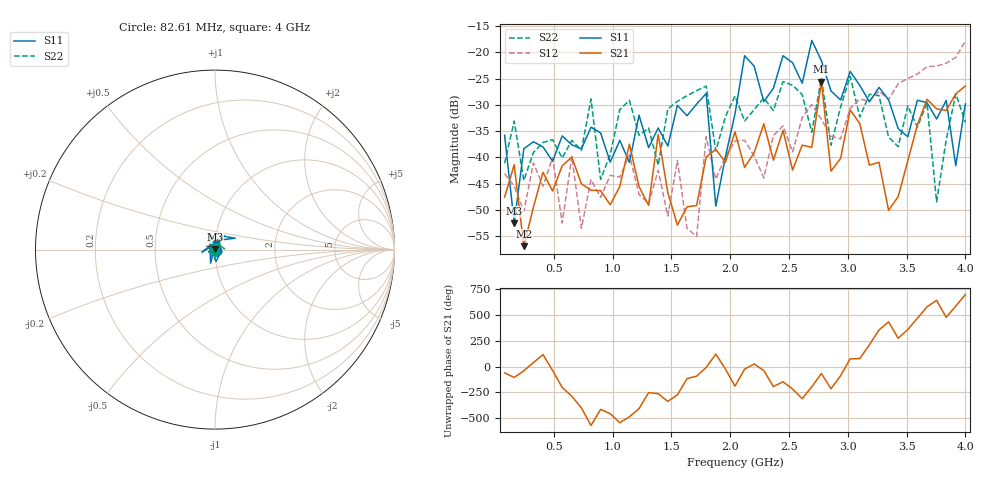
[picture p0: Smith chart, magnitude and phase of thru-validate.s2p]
!Created with skrf (http://scikit-rf.org).
# GHz S DB R 50.0
!freq dBS11 angS11 dBS21 angS21 dBS12 angS12 dBS22 angS22
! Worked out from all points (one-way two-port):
!   49 points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, 82.61 MHz to 4 GHz, reference 50 ohm
!   highest |S21| = -25.59 dB at 2.776 GHz (marker M1); lowest = -56.9 dB at 245.8 MHz (marker M2)
!   lowest |S11| = -52.5 dB at 164.2 MHz (marker M3), VSWR 1.00, Z = 50.1 + j0.228 ohm
!   |S11| at or under -10 dB: start of sweep to end of sweep
!   |S22| runs from -48.5 to -24.6 dB; largest |S21 - S12| = 0.11
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0.08261224  -35.78 -34.9  -47.57 -60.9  -43.11 -44.5  -41.11 -94.3
0.1642245  -52.55 74.6  -41.39 -106.1  -45.45 -118.2  -33.10 -20.5
0.2458367  -38.36 -28.6  -56.90 -40.7  -50.25 -175.7  -44.39 35.8
0.653898  -37.61 -84.9  -39.96 71.8  -39.83 128.8  -36.77 -16.0
0.7355102  -38.39 49.3  -45.02 -41.9  -53.49 -40.5  -38.63 -77.0
1.143571  -40.96 6.5  -37.48 -127.1  -39.50 -35.9  -29.13 54.9
1.306796  -38.14 142.1  -49.13 107.0  -48.79 113.3  -34.42 -33.8
1.388408  -34.40 -16.0  -35.63 96.5  -42.46 -83.9  -41.50 168.8
1.551633  -30.09 -29.9  -52.89 85.0  -40.57 5.5  -29.34 -115.0
1.714857  -29.85 -153.3  -49.16 -93.2  -55.04 116.9  -27.29 72.7
1.796469  -27.84 -19.5  -39.94 -8.3  -36.06 145.2  -26.44 132.5
1.878082  -49.29 -179.1  -38.46 120.6  -44.16 -6.9  -38.80 -53.3
2.041306  -31.71 -165.7  -35.14 169.2  -36.90 -26.2  -28.31 -159.0
2.53098  -21.98 -107.8  -42.40 141.7  -38.97 79.3  -26.28 100.6
2.775816  -21.58 67.4  -25.59 -67.3  -32.77 -37.5  -24.91 56.1
2.857429  -27.35 55.2  -42.61 144.2  -35.95 66.8  -37.69 -171.9
3.020653  -23.64 -85.1  -30.95 74.7  -30.69 166.0  -24.56 57.1
3.428714  -34.53 -165.5  -47.46 -85.4  -25.99 -79.6  -37.96 35.8
3.673551  -29.56 -160.9  -28.95 -140.8  -22.75 -75.0  -29.63 -95.5
3.755163  -32.70 8.7  -30.75 -77.9  -22.62 18.5  -48.48 -131.0
3.918388  -41.58 -58.5  -27.90 -133.0  -20.96 -61.6  -27.89 157.7
4  -29.78 76.9  -26.41 -21.3  -17.86 40.2  -33.31 82.5
